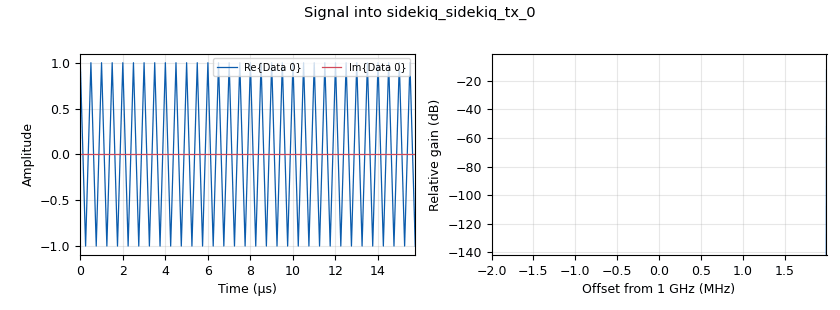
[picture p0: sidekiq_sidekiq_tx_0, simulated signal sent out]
options:
  parameters:
    generate_options: qt_gui
    id: sink_test_headless
    output_language: python
    title: Sink Test Headless
  states: {}

blocks:
- name: min_output_buffer
  id: variable
  parameters:
    value: 32764 *2*2
  states: {}
- name: analog_sig_source_x_0
  id: analog_sig_source_x
  parameters:
    amp: '1'
    freq: 2e6
    minoutbuf: min_output_buffer
    offset: '0'
    phase: '0'
    samp_rate: 4e6
    type: complex
    waveform: analog.GR_COS_WAVE
  states: {}
- name: sidekiq_sidekiq_tx_0
  id: sidekiq_sidekiq_tx
  parameters:
    attenuation: '10'
    bandwidth: 3e6
    buffer_size: '32764'
    bursting: '0'
    cal_mode: '1'
    card: '0'
    frequency: 1000e6
    handle: '0'
    run_cal: '0'
    sample_rate: 4e6
    threads: '1'
  states: {}

connections:
- [analog_sig_source_x_0, '0', sidekiq_sidekiq_tx_0, '0']

metadata:
  file_format: 1
  grc_version: 3.10.3.0
